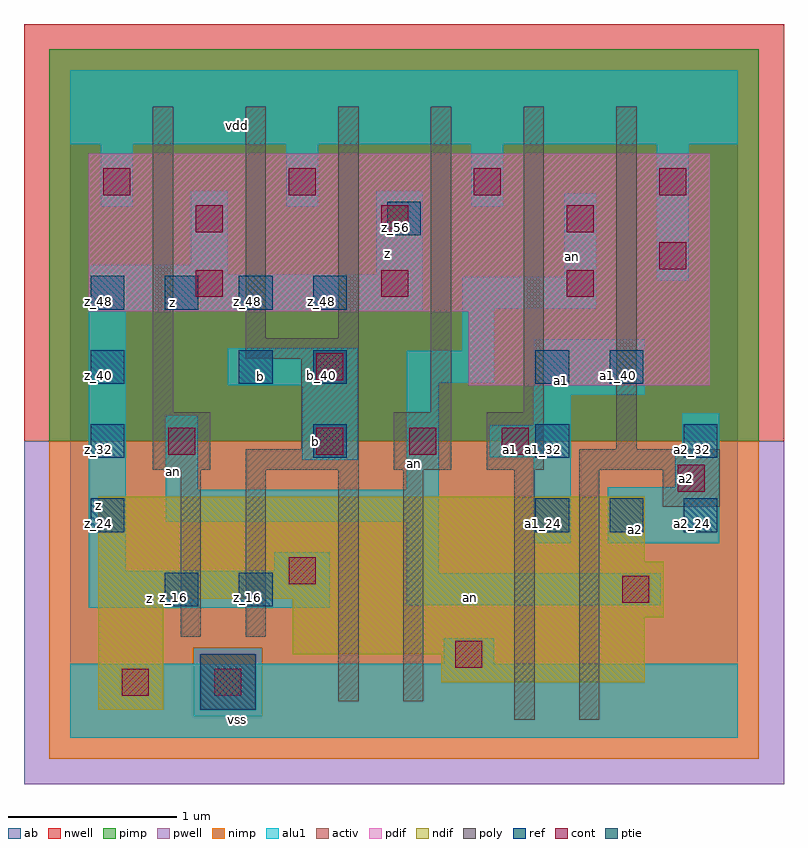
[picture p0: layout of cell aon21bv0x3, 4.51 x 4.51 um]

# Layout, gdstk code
import gdstk
lib = gdstk.Library(unit=1e-6, precision=2.5e-09)
def R(c, l, rs):  # rectangles x0, y0, x1, y1
    for r in rs: c.add(gdstk.rectangle(r[:2], r[2:], *l))
def A(c, l, x, y, w, h, nx, ny, dx, dy):  # array of equal rectangles
    R(c, l, [(x+i*dx, y+j*dy, x+i*dx+w, y+j*dy+h) for i in range(nx) for j in range(ny)])
ndif = (3, 0)
pdif = (4, 0)
ptie = (6, 0)
ref = (24, 0)
cont = (25, 0)
pwell = (41, 0)
nwell = (42, 0)
activ = (43, 0)
pimp = (44, 0)
nimp = (45, 0)
poly = (46, 0)
alu1 = (49, 0)
ab = (63, 0)

aon21bv0x3 = lib.new_cell('aon21bv0x3')
R(aon21bv0x3, ndif, [(0.165,0.165,0.55,0.825), (2.2,0.33,3.41,0.495), (1.32,0.495,3.41,0.715), (1.32,0.715,3.52,0.825), (0.165,0.825,3.52,1.045), (0.165,1.045,3.41,1.43)])
R(aon21bv0x3, pdif, [(2.365,2.09,3.795,2.53), (0.11,2.53,3.795,3.465)])
R(aon21bv0x3, ptie, [(0.77,0.165,1.1,0.495)])
A(aon21bv0x3, ref, 2.76, 1.22, 0.2, 0.2, 3, 1, 0.44, 0)
A(aon21bv0x3, ref, 0.12, 1.66, 0.2, 0.2, 3, 1, 1.32, 0)
A(aon21bv0x3, ref, 0.12, 2.54, 0.2, 0.2, 4, 1, 0.44, 0)
R(aon21bv0x3, ref, [(0.56,0.78,0.76,0.98), (1,0.78,1.2,0.98), (0.12,1.22,0.32,1.42), (3.64,1.66,3.84,1.86), (0.12,2.1,0.32,2.3), (1,2.1,1.2,2.3), (1.44,2.1,1.64,2.3), (2.76,2.1,2.96,2.3), (3.2,2.1,3.4,2.3), (1.88,2.98,2.08,3.18)])
A(aon21bv0x3, cont, 1.46, 1.68, 0.16, 0.16, 3, 1, 0.55, 0)
A(aon21bv0x3, cont, 0.745, 2.615, 0.16, 0.16, 3, 2, 1.1, 0.385)
A(aon21bv0x3, cont, 0.195, 3.22, 0.16, 0.16, 4, 1, 1.1, 0)
R(aon21bv0x3, cont, [(0.305,0.25,0.465,0.41), (0.855,0.25,1.015,0.41), (2.285,0.415,2.445,0.575), (3.275,0.8,3.435,0.96), (1.295,0.91,1.455,1.07), (3.605,1.46,3.765,1.62), (0.58,1.68,0.74,1.84), (1.46,2.12,1.62,2.28), (3.495,2.78,3.655,2.94)])
R(aon21bv0x3, pwell, [(-0.275,-0.275,4.235,1.76)])
R(aon21bv0x3, nwell, [(-0.275,1.76,4.235,4.235)])
R(aon21bv0x3, activ, [(0.165,0.165,0.55,0.825), (0.77,0.165,1.1,0.495), (2.2,0.33,3.41,0.495), (1.32,0.495,3.41,0.715), (1.32,0.715,3.52,0.825), (0.165,0.825,3.52,1.045), (0.165,1.045,3.41,1.43), (2.365,2.09,3.795,2.53), (0.11,2.53,3.795,3.465)])
R(aon21bv0x3, pimp, [(0.73,0.125,1.14,0.535), (-0.125,1.76,4.085,4.085)])
R(aon21bv0x3, nimp, [(-0.125,-0.125,4.085,0.125), (-0.125,0.125,0.73,0.535), (1.14,0.125,4.085,0.535), (-0.125,0.535,4.085,1.76)])
R(aon21bv0x3, poly, [(2.635,0.105,2.755,1.59), (3.02,0.105,3.14,1.59), (1.59,0.215,1.71,1.59), (1.975,0.215,2.095,1.59), (0.655,0.6,0.775,1.59), (1.04,0.6,1.16,1.59), (3.515,1.37,3.855,1.59), (0.49,1.59,0.83,1.93), (1.04,1.59,1.71,1.71), (1.92,1.59,2.26,1.93), (2.47,1.59,2.81,1.93), (3.02,1.59,3.855,1.71), (1.37,1.71,1.71,2.25), (3.24,1.71,3.36,3.745), (0.49,1.93,0.61,3.745), (2.14,1.93,2.26,3.745), (2.69,1.93,2.81,3.745), (1.04,2.25,1.71,2.37), (1.04,2.37,1.16,3.745), (1.59,2.37,1.71,3.745)])
A(aon21bv0x3, alu1, 0.18, 3.15, 0.19, 0.37, 3, 1, 1.1, 0)
R(aon21bv0x3, alu1, [(0,0,3.96,0.44), (2.215,0.44,2.515,0.59), (0.11,0.77,1.54,0.99), (1.995,0.785,3.505,0.975), (1.995,0.975,2.185,1.28), (0.11,0.99,0.33,2.53), (1.21,0.99,1.54,1.1), (2.75,1.155,2.97,1.665), (3.19,1.155,3.85,1.485), (0.565,1.28,2.185,1.47), (0.565,1.47,0.755,1.91), (1.995,1.47,2.185,2.105), (3.59,1.485,3.85,1.69), (1.375,1.65,1.705,2.09), (2.49,1.665,2.97,1.855), (3.63,1.69,3.85,1.925), (2.75,1.855,2.97,2.035), (2.75,2.035,3.41,2.365), (0.935,2.09,1.705,2.31), (1.995,2.105,2.515,2.295), (2.325,2.295,2.515,2.545), (0.11,2.53,2.09,2.75), (2.325,2.545,3.12,2.735), (3.48,2.71,3.67,3.52), (2.93,2.735,3.12,3.23), (0.11,2.75,0.935,2.805), (1.815,2.75,2.09,3.245), (0.715,2.805,0.935,3.245), (0,3.52,3.96,3.96)])
R(aon21bv0x3, ab, [(0,0,3.96,3.96)])
aon21bv0x3.add(gdstk.Label('vss', (0.99,0.11), layer=49, texttype=0))
aon21bv0x3.add(gdstk.Label('an', (2.3725,0.8325), layer=49, texttype=0))
aon21bv0x3.add(gdstk.Label('a2', (3.355,1.2375), layer=49, texttype=0))
aon21bv0x3.add(gdstk.Label('a2', (3.655,1.535), layer=49, texttype=0))
aon21bv0x3.add(gdstk.Label('z', (0.4675,0.825), layer=49, texttype=0))
aon21bv0x3.add(gdstk.Label('a1', (2.61,1.7125), layer=49, texttype=0))
aon21bv0x3.add(gdstk.Label('a1', (2.915,2.1175), layer=49, texttype=0))
aon21bv0x3.add(gdstk.Label('an', (2.0425,1.6275), layer=49, texttype=0))
aon21bv0x3.add(gdstk.Label('b', (1.4575,1.76), layer=49, texttype=0))
aon21bv0x3.add(gdstk.Label('an', (0.6125,1.58), layer=49, texttype=0))
aon21bv0x3.add(gdstk.Label('b', (1.1275,2.145), layer=49, texttype=0))
aon21bv0x3.add(gdstk.Label('z', (0.165,1.375), layer=49, texttype=0))
aon21bv0x3.add(gdstk.Label('an', (2.9775,2.8575), layer=49, texttype=0))
aon21bv0x3.add(gdstk.Label('z', (0.605,2.585), layer=49, texttype=0))
aon21bv0x3.add(gdstk.Label('z', (1.8825,2.8725), layer=49, texttype=0))
aon21bv0x3.add(gdstk.Label('vdd', (0.99,3.63), layer=49, texttype=0))
aon21bv0x3.add(gdstk.Label('z_16', (0.61,0.83), layer=24, texttype=0))
aon21bv0x3.add(gdstk.Label('z_48', (0.61,2.59), layer=24, texttype=0))
aon21bv0x3.add(gdstk.Label('z_16', (1.05,0.83), layer=24, texttype=0))
aon21bv0x3.add(gdstk.Label('b_40', (1.05,2.15), layer=24, texttype=0))
aon21bv0x3.add(gdstk.Label('z_48', (1.05,2.59), layer=24, texttype=0))
aon21bv0x3.add(gdstk.Label('b_32', (1.49,1.71), layer=24, texttype=0))
aon21bv0x3.add(gdstk.Label('b_40', (1.49,2.15), layer=24, texttype=0))
aon21bv0x3.add(gdstk.Label('z_48', (1.49,2.59), layer=24, texttype=0))
aon21bv0x3.add(gdstk.Label('z_56', (1.93,3.03), layer=24, texttype=0))
aon21bv0x3.add(gdstk.Label('z_24', (0.17,1.27), layer=24, texttype=0))
aon21bv0x3.add(gdstk.Label('z_32', (0.17,1.71), layer=24, texttype=0))
aon21bv0x3.add(gdstk.Label('z_40', (0.17,2.15), layer=24, texttype=0))
aon21bv0x3.add(gdstk.Label('z_48', (0.17,2.59), layer=24, texttype=0))
aon21bv0x3.add(gdstk.Label('a1_24', (2.81,1.27), layer=24, texttype=0))
aon21bv0x3.add(gdstk.Label('a1_32', (2.81,1.71), layer=24, texttype=0))
aon21bv0x3.add(gdstk.Label('a1_40', (2.81,2.15), layer=24, texttype=0))
aon21bv0x3.add(gdstk.Label('a2_24', (3.25,1.27), layer=24, texttype=0))
aon21bv0x3.add(gdstk.Label('a1_40', (3.25,2.15), layer=24, texttype=0))
aon21bv0x3.add(gdstk.Label('a2_24', (3.69,1.27), layer=24, texttype=0))
aon21bv0x3.add(gdstk.Label('a2_32', (3.69,1.71), layer=24, texttype=0))

lib.write_gds('aon21bv0x3.gds')
